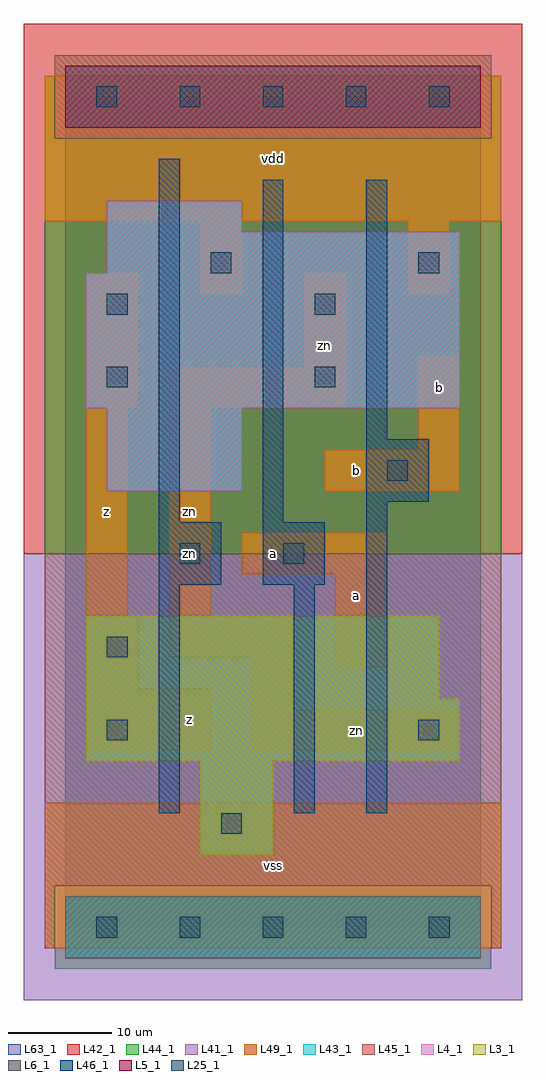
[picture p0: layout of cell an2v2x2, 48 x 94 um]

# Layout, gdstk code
import gdstk
lib = gdstk.Library(unit=1e-6, precision=1e-09)
def R(c, l, rs):  # rectangles x0, y0, x1, y1
    for r in rs: c.add(gdstk.rectangle(r[:2], r[2:], *l))
def A(c, l, x, y, w, h, nx, ny, dx, dy):  # array of equal rectangles
    R(c, l, [(x+i*dx, y+j*dy, x+i*dx+w, y+j*dy+h) for i in range(nx) for j in range(ny)])
L3_1 = (3, 1)
L4_1 = (4, 1)
L5_1 = (5, 1)
L6_1 = (6, 1)
L25_1 = (25, 1)
L41_1 = (41, 1)
L42_1 = (42, 1)
L43_1 = (43, 1)
L44_1 = (44, 1)
L45_1 = (45, 1)
L46_1 = (46, 1)
L49_1 = (49, 1)
L63_1 = (63, 1)

an2v2x2 = lib.new_cell('an2v2x2')
R(an2v2x2, L3_1, [(13,7,20,16), (2,16,38,22), (2,22,36,30)])
R(an2v2x2, L4_1, [(4,42,17,50), (2,50,38,63), (4,63,38,67), (4,67,17,70)])
R(an2v2x2, L5_1, [(0,77,40,83)])
R(an2v2x2, L6_1, [(0,-3,40,3), (0,-3,40,3)])
A(an2v2x2, L25_1, 3, -1, 2, 2, 5, 2, 8, 80)
R(an2v2x2, L25_1, [(15,9,17,11), (4,18,6,20), (34,18,36,20), (4,26,6,28), (11,35,13,37), (21,35,23,37), (31,43,33,45), (4,52,6,54), (24,52,26,54), (4,59,6,61), (24,59,26,61), (14,63,16,65), (34,63,36,65)])
R(an2v2x2, L41_1, [(-4,-7,44,36)])
R(an2v2x2, L42_1, [(-4,36,44,87)])
R(an2v2x2, L43_1, [(0,-3,40,3), (13,7,20,16), (2,16,38,22), (2,22,36,30), (4,42,17,50), (2,50,38,63), (4,63,38,67), (4,67,17,70), (0,77,40,83)])
R(an2v2x2, L44_1, [(-1,-4,41,4), (-2,36,42,76), (-2,76,-1,82), (41,76,42,82)])
R(an2v2x2, L45_1, [(-2,-2,-1,4), (41,-2,42,4), (-2,4,42,36), (-1,76,41,84)])
R(an2v2x2, L46_1, [(9,11,11,33), (22,11,24,33), (29,11,31,41), (9,33,15,39), (19,33,25,39), (9,39,11,74), (19,39,21,72), (29,41,35,47), (29,47,31,72)])
R(an2v2x2, L49_1, [(-2,-2,42,12), (2,17,14,23), (18,17,38,21), (18,21,22,26), (2,23,7,30), (26,25,31,34), (10,26,22,30), (2,30,6,50), (10,30,14,50), (17,34,31,38), (25,42,38,46), (34,46,38,55), (2,50,7,63), (10,50,27,54), (23,54,27,63), (13,61,17,68), (33,61,37,68), (-2,68,42,82)])
R(an2v2x2, L63_1, [(0,0,40,80)])
an2v2x2.add(gdstk.Label('zn', (12,36), layer=49, texttype=1))
an2v2x2.add(gdstk.Label('z', (4,40), layer=49, texttype=1))
an2v2x2.add(gdstk.Label('z', (12,20), layer=49, texttype=1))
an2v2x2.add(gdstk.Label('zn', (12,40), layer=49, texttype=1))
an2v2x2.add(gdstk.Label('vss', (20,6), layer=49, texttype=1))
an2v2x2.add(gdstk.Label('a', (20,36), layer=49, texttype=1))
an2v2x2.add(gdstk.Label('a', (28,32), layer=49, texttype=1))
an2v2x2.add(gdstk.Label('b', (28,44), layer=49, texttype=1))
an2v2x2.add(gdstk.Label('zn', (25,56), layer=49, texttype=1))
an2v2x2.add(gdstk.Label('vdd', (20,74), layer=49, texttype=1))
an2v2x2.add(gdstk.Label('zn', (28,19), layer=49, texttype=1))
an2v2x2.add(gdstk.Label('b', (36,52), layer=49, texttype=1))

lib.write_gds('an2v2x2.gds')
